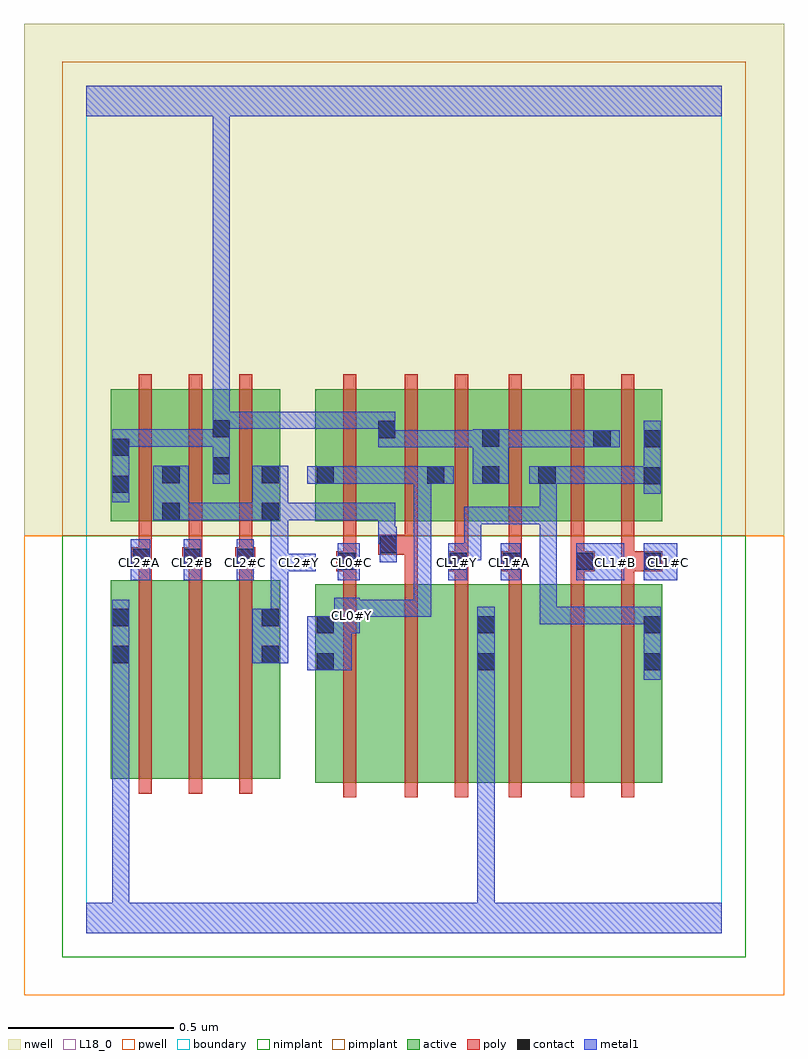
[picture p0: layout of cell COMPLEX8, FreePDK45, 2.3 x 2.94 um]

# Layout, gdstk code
import gdstk
lib = gdstk.Library(unit=1e-6, precision=1e-09)
def R(c, l, rs):  # rectangles x0, y0, x1, y1
    for r in rs: c.add(gdstk.rectangle(r[:2], r[2:], *l))
def A(c, l, x, y, w, h, nx, ny, dx, dy):  # array of equal rectangles
    R(c, l, [(x+i*dx, y+j*dy, x+i*dx+w, y+j*dy+h) for i in range(nx) for j in range(ny)])
active = (1, 0)
pwell = (2, 0)
nwell = (3, 0)
nimplant = (4, 0)
pimplant = (5, 0)
poly = (9, 0)
contact = (10, 0)
metal1 = (11, 0)
L18_0 = (18, 0)
boundary = (235, 0)

complex8 = lib.new_cell('COMPLEX8')
A(complex8, active, 0.074, 1.244, 0.06, 0.4, 3, 1, 0.152, 0)
R(complex8, active, [(0.692,0.454,0.872,1.054), (0.872,0.454,1.058,1.054), (1.058,0.454,1.238,1.054), (1.178,0.454,1.408,1.054), (1.408,0.454,1.56,1.054), (1.56,0.454,1.74,1.054), (0.074,0.466,0.254,1.066), (0.074,0.466,0.134,1.066), (0.254,0.466,0.406,1.066), (0.406,0.466,0.586,1.066), (0.526,0.466,0.586,1.066), (0.692,0.556,0.752,1.054), (1.178,0.556,1.238,0.962), (1.68,0.556,1.74,1.054), (0.074,1.244,0.286,1.644), (0.226,1.244,0.438,1.644), (0.378,1.244,0.586,1.644), (0.526,1.244,0.586,1.644), (0.692,1.244,0.752,1.644), (0.692,1.244,0.938,1.644), (0.878,1.244,0.938,1.644), (0.878,1.244,1.086,1.644), (1.026,1.244,1.086,1.644), (1.026,1.244,1.252,1.644), (1.192,1.244,1.252,1.644), (1.192,1.244,1.422,1.644), (1.362,1.244,1.422,1.644), (1.362,1.244,1.588,1.644), (1.528,1.244,1.588,1.644), (1.528,1.244,1.74,1.644), (1.68,1.244,1.74,1.644)])
R(complex8, pwell, [(-0.188,-0.188,2.108,1.2)])
R(complex8, nwell, [(-0.188,1.2,2.108,2.748)])
R(complex8, nimplant, [(-0.072,-0.072,1.992,1.2)])
R(complex8, pimplant, [(-0.072,1.2,1.992,2.632)])
A(complex8, poly, 0.158, 0.422, 0.04, 0.688, 3, 1, 0.152, 0)
A(complex8, poly, 0.158, 1.07, 0.04, 0.076, 3, 1, 0.152, 0)
A(complex8, poly, 0.158, 1.126, 0.04, 0.114, 3, 1, 0.152, 0)
A(complex8, poly, 0.158, 1.2, 0.04, 0.488, 3, 1, 0.152, 0)
R(complex8, poly, [(0.776,0.41,0.816,1.098), (0.962,0.41,1.002,1.098), (1.114,0.41,1.154,1.098), (1.276,0.41,1.316,1.098), (1.464,0.41,1.504,1.098), (1.616,0.41,1.656,1.098), (0.776,1.058,0.816,1.134), (0.962,1.058,1.002,1.184), (1.114,1.058,1.154,1.134), (1.276,1.058,1.316,1.134), (1.464,1.058,1.504,1.134), (1.616,1.058,1.656,1.134), (0.756,1.094,0.816,1.154), (0.776,1.094,0.816,1.134), (0.776,1.094,0.816,1.134), (1.094,1.094,1.154,1.154), (1.114,1.094,1.154,1.134), (1.114,1.094,1.154,1.134), (1.256,1.094,1.316,1.154), (1.464,1.094,1.504,1.134), (1.464,1.094,1.504,1.134), (1.464,1.094,1.536,1.154), (1.616,1.094,1.656,1.134), (1.616,1.094,1.656,1.134), (1.616,1.094,1.74,1.154), (0.138,1.106,0.198,1.166), (0.158,1.106,0.198,1.146), (0.158,1.106,0.198,1.146), (0.29,1.106,0.35,1.166), (0.45,1.106,0.51,1.166), (0.776,1.114,0.816,1.24), (1.114,1.114,1.154,1.24), (1.276,1.114,1.316,1.24), (1.276,1.114,1.316,1.154), (1.276,1.114,1.316,1.154), (1.464,1.114,1.504,1.24), (1.616,1.114,1.656,1.24), (0.31,1.126,0.35,1.166), (0.31,1.126,0.35,1.166), (0.462,1.126,0.502,1.166), (0.462,1.126,0.502,1.166), (0.882,1.144,1.002,1.204), (0.962,1.144,1.002,1.184), (0.962,1.144,1.002,1.184), (0.962,1.164,1.002,1.24), (0.776,1.2,0.816,1.688), (0.962,1.2,1.002,1.688), (1.114,1.2,1.154,1.688), (1.276,1.2,1.316,1.688), (1.464,1.2,1.504,1.688), (1.616,1.2,1.656,1.688)])
R(complex8, contact, [(0.696,0.794,0.748,0.846), (1.182,0.794,1.234,0.846), (1.684,0.794,1.736,0.846), (0.078,0.816,0.13,0.868), (0.53,0.816,0.582,0.868), (0.696,0.906,0.748,0.958), (1.182,0.906,1.234,0.958), (1.684,0.906,1.736,0.958), (0.078,0.928,0.13,0.98), (0.53,0.928,0.582,0.98), (0.76,1.098,0.812,1.15), (1.098,1.098,1.15,1.15), (1.26,1.098,1.312,1.15), (1.48,1.098,1.532,1.15), (1.684,1.098,1.736,1.15), (0.142,1.11,0.194,1.162), (0.294,1.11,0.346,1.162), (0.454,1.11,0.506,1.162), (0.886,1.148,0.938,1.2), (0.23,1.248,0.282,1.3), (0.53,1.248,0.582,1.3), (0.078,1.33,0.13,1.382), (1.684,1.356,1.736,1.408), (0.696,1.358,0.748,1.41), (1.03,1.358,1.082,1.41), (1.196,1.358,1.248,1.41), (1.366,1.358,1.418,1.41), (0.23,1.36,0.282,1.412), (0.53,1.36,0.582,1.412), (0.382,1.386,0.434,1.438), (0.078,1.442,0.13,1.494), (1.532,1.468,1.584,1.52), (1.684,1.468,1.736,1.52), (1.196,1.47,1.248,1.522), (0.882,1.496,0.934,1.548), (0.382,1.498,0.434,1.55)])
R(complex8, metal1, [(0,0,1.92,0.092), (0.078,0.04,0.13,0.092), (0.078,0.04,0.13,0.092), (0.078,0.04,0.13,0.092), (0.078,0.04,0.13,0.092), (0.078,0.04,0.13,0.092), (0.078,0.04,0.13,0.092), (0.078,0.04,0.13,0.092), (0.078,0.04,0.13,0.092), (0.078,0.04,0.13,0.84), (1.182,0.04,1.234,0.092), (1.182,0.04,1.234,0.092), (1.182,0.04,1.234,0.092), (1.182,0.04,1.234,0.092), (1.182,0.04,1.234,0.092), (1.182,0.04,1.234,0.092), (1.182,0.04,1.234,0.092), (1.182,0.04,1.234,0.092), (1.182,0.04,1.234,0.818), (1.182,0.766,1.234,0.986), (1.684,0.766,1.736,0.986), (0.078,0.788,0.13,1.008), (0.668,0.794,0.802,0.958), (0.502,0.816,0.61,0.98), (0.75,0.906,0.802,0.958), (0.75,0.906,0.826,1.014), (0.558,0.928,0.61,1.146), (1.37,0.934,1.422,0.986), (1.37,0.934,1.422,0.986), (1.37,0.934,1.422,0.986), (1.37,0.934,1.626,0.986), (1.37,0.934,1.422,1.288), (1.574,0.934,1.626,0.986), (1.574,0.934,1.626,0.986), (1.574,0.934,1.626,0.986), (1.574,0.934,1.736,0.986), (1.684,0.934,1.736,0.986), (1.684,0.934,1.736,0.986), (0.774,0.956,0.826,1.008), (0.774,0.956,0.826,1.008), (0.774,0.956,0.934,1.008), (0.882,0.956,0.934,1.008), (0.882,0.956,0.942,1.008), (0.89,0.956,0.942,1.008), (0.89,0.956,1.042,1.008), (0.99,0.956,1.042,1.008), (0.99,0.956,1.042,1.41), (0.134,1.066,0.194,1.19), (0.294,1.066,0.346,1.19), (0.454,1.066,0.506,1.19), (0.76,1.066,0.826,1.178), (1.094,1.066,1.15,1.178), (1.252,1.066,1.312,1.178), (1.48,1.066,1.626,1.178), (1.684,1.066,1.786,1.178), (0.558,1.094,0.61,1.3), (0.558,1.094,0.694,1.146), (0.886,1.12,0.938,1.228), (1.098,1.126,1.194,1.178), (1.142,1.126,1.194,1.288), (0.882,1.176,0.934,1.228), (0.882,1.176,0.938,1.228), (0.882,1.176,0.934,1.3), (1.142,1.236,1.422,1.288), (1.37,1.236,1.422,1.288), (1.37,1.236,1.422,1.288), (1.37,1.236,1.422,1.288), (1.37,1.236,1.422,1.41), (0.202,1.248,0.31,1.412), (0.258,1.248,0.31,1.3), (0.258,1.248,0.31,1.3), (0.258,1.248,0.444,1.3), (0.392,1.248,0.444,1.3), (0.392,1.248,0.554,1.3), (0.502,1.248,0.554,1.3), (0.502,1.248,0.554,1.3), (0.502,1.248,0.61,1.412), (0.558,1.248,0.61,1.3), (0.558,1.248,0.61,1.3), (0.558,1.248,0.804,1.3), (0.752,1.248,0.804,1.3), (0.752,1.248,0.804,1.3), (0.752,1.248,0.804,1.3), (0.752,1.248,0.934,1.3), (0.882,1.248,0.934,1.3), (0.078,1.302,0.13,1.522), (1.684,1.328,1.736,1.548), (0.382,1.358,0.434,1.578), (0.668,1.358,0.776,1.41), (0.724,1.358,0.826,1.41), (0.774,1.358,0.826,1.41), (0.774,1.358,0.934,1.41), (0.882,1.358,0.934,1.41), (0.882,1.358,0.936,1.41), (0.884,1.358,0.936,1.41), (0.884,1.358,1.044,1.41), (0.99,1.358,1.042,1.41), (0.99,1.358,1.042,1.41), (0.99,1.358,1.11,1.41), (0.992,1.358,1.044,1.41), (0.992,1.358,1.044,1.41), (1.168,1.358,1.276,1.522), (1.338,1.358,1.446,1.41), (1.394,1.358,1.626,1.41), (1.574,1.358,1.626,1.41), (1.574,1.358,1.626,1.41), (1.574,1.358,1.626,1.41), (1.574,1.358,1.736,1.41), (1.684,1.358,1.736,1.41), (1.684,1.358,1.736,1.41), (0.882,1.468,0.936,1.52), (0.882,1.468,0.934,1.576), (0.884,1.468,0.936,1.52), (0.884,1.468,1.052,1.52), (1,1.468,1.052,1.52), (1,1.468,1.052,1.52), (1,1.468,1.052,1.52), (1,1.468,1.22,1.52), (1.224,1.468,1.276,1.52), (1.224,1.468,1.276,1.52), (1.224,1.468,1.446,1.52), (1.394,1.468,1.446,1.52), (1.394,1.468,1.556,1.52), (1.504,1.468,1.556,1.52), (1.504,1.468,1.556,1.52), (1.504,1.468,1.612,1.52), (0.078,1.47,0.13,1.522), (0.078,1.47,0.13,1.522), (0.078,1.47,0.24,1.522), (0.188,1.47,0.24,1.522), (0.188,1.47,0.24,1.522), (0.188,1.47,0.24,1.522), (0.188,1.47,0.434,1.522), (0.382,1.524,0.61,1.576), (0.558,1.524,0.61,1.576), (0.558,1.524,0.61,1.576), (0.558,1.524,0.61,1.576), (0.558,1.524,0.804,1.576), (0.752,1.524,0.804,1.576), (0.752,1.524,0.804,1.576), (0.752,1.524,0.804,1.576), (0.752,1.524,0.934,1.576), (0.382,1.526,0.434,1.578), (0.382,1.526,0.434,1.578), (0.382,1.526,0.434,1.578), (0.382,1.526,0.434,1.578), (0.382,1.526,0.434,1.578), (0.382,1.526,0.434,1.578), (0.382,1.526,0.434,2.52), (0,2.468,1.92,2.56), (0.382,2.468,0.434,2.52), (0.382,2.468,0.434,2.52), (0.382,2.468,0.434,2.52), (0.382,2.468,0.434,2.52), (0.382,2.468,0.434,2.52), (0.382,2.468,0.434,2.52), (0.382,2.468,0.434,2.52), (0.382,2.468,0.434,2.52), (0.382,2.468,0.434,2.52), (0.382,2.468,0.434,2.52)])
A(complex8, L18_0, 0.134, 1.094, 0.052, 0.052, 5, 1, 0.16, 0)
R(complex8, L18_0, [(0,0,1.92,0.092), (0.078,0.04,0.13,0.092), (0.078,0.04,0.13,0.092), (0.078,0.04,0.13,0.092), (0.078,0.04,0.13,0.092), (0.078,0.04,0.13,0.092), (0.078,0.04,0.13,0.092), (0.078,0.04,0.13,0.092), (0.078,0.04,0.13,0.092), (0.078,0.04,0.13,0.84), (1.182,0.04,1.234,0.092), (1.182,0.04,1.234,0.092), (1.182,0.04,1.234,0.092), (1.182,0.04,1.234,0.092), (1.182,0.04,1.234,0.092), (1.182,0.04,1.234,0.092), (1.182,0.04,1.234,0.092), (1.182,0.04,1.234,0.092), (1.182,0.04,1.234,0.818), (1.182,0.766,1.234,0.986), (1.684,0.766,1.736,0.986), (0.078,0.788,0.13,1.008), (0.668,0.794,0.802,0.958), (0.502,0.816,0.61,0.98), (0.75,0.906,0.802,0.958), (0.75,0.906,0.826,1.014), (0.558,0.928,0.61,1.146), (0.774,0.934,0.826,0.986), (1.37,0.934,1.422,0.986), (1.37,0.934,1.422,0.986), (1.37,0.934,1.422,0.986), (1.37,0.934,1.422,1.288), (1.37,0.934,1.626,0.986), (1.574,0.934,1.626,0.986), (1.574,0.934,1.626,0.986), (1.574,0.934,1.626,0.986), (1.574,0.934,1.736,0.986), (1.684,0.934,1.736,0.986), (1.684,0.934,1.736,0.986), (0.774,0.956,0.826,1.008), (0.774,0.956,0.826,1.008), (0.774,0.956,0.934,1.008), (0.882,0.956,0.934,1.008), (0.882,0.956,0.942,1.008), (0.89,0.956,0.942,1.008), (0.89,0.956,1.042,1.008), (0.99,0.956,1.042,1.008), (0.99,0.956,1.042,1.41), (0.134,1.066,0.194,1.19), (0.294,1.066,0.346,1.19), (0.454,1.066,0.506,1.19), (0.76,1.066,0.826,1.178), (1.094,1.066,1.15,1.178), (1.252,1.066,1.312,1.178), (1.48,1.066,1.626,1.178), (1.684,1.066,1.786,1.178), (0.558,1.094,0.694,1.146), (0.558,1.094,0.61,1.3), (1.094,1.094,1.146,1.146), (1.254,1.094,1.306,1.146), (1.574,1.094,1.626,1.146), (1.734,1.094,1.786,1.146), (0.886,1.12,0.938,1.228), (1.098,1.126,1.194,1.178), (1.142,1.126,1.194,1.288), (0.882,1.176,0.934,1.228), (0.882,1.176,0.934,1.3), (0.882,1.176,0.938,1.228), (1.142,1.236,1.422,1.288), (1.37,1.236,1.422,1.288), (1.37,1.236,1.422,1.288), (1.37,1.236,1.422,1.288), (1.37,1.236,1.422,1.41), (0.202,1.248,0.31,1.412), (0.258,1.248,0.31,1.3), (0.258,1.248,0.31,1.3), (0.258,1.248,0.444,1.3), (0.392,1.248,0.444,1.3), (0.392,1.248,0.554,1.3), (0.502,1.248,0.554,1.3), (0.502,1.248,0.554,1.3), (0.502,1.248,0.61,1.412), (0.558,1.248,0.61,1.3), (0.558,1.248,0.61,1.3), (0.558,1.248,0.804,1.3), (0.752,1.248,0.804,1.3), (0.752,1.248,0.804,1.3), (0.752,1.248,0.804,1.3), (0.752,1.248,0.934,1.3), (0.882,1.248,0.934,1.3), (0.078,1.302,0.13,1.522), (1.684,1.328,1.736,1.548), (0.382,1.358,0.434,1.578), (0.668,1.358,0.776,1.41), (0.724,1.358,0.826,1.41), (0.774,1.358,0.826,1.41), (0.774,1.358,0.934,1.41), (0.882,1.358,0.934,1.41), (0.882,1.358,0.936,1.41), (0.884,1.358,0.936,1.41), (0.884,1.358,1.044,1.41), (0.99,1.358,1.042,1.41), (0.99,1.358,1.042,1.41), (0.99,1.358,1.11,1.41), (0.992,1.358,1.044,1.41), (0.992,1.358,1.044,1.41), (1.168,1.358,1.276,1.522), (1.338,1.358,1.446,1.41), (1.394,1.358,1.626,1.41), (1.574,1.358,1.626,1.41), (1.574,1.358,1.626,1.41), (1.574,1.358,1.626,1.41), (1.574,1.358,1.736,1.41), (1.684,1.358,1.736,1.41), (1.684,1.358,1.736,1.41), (0.882,1.468,0.934,1.576), (0.882,1.468,0.936,1.52), (0.884,1.468,0.936,1.52), (0.884,1.468,1.052,1.52), (1,1.468,1.052,1.52), (1,1.468,1.052,1.52), (1,1.468,1.052,1.52), (1,1.468,1.22,1.52), (1.224,1.468,1.276,1.52), (1.224,1.468,1.276,1.52), (1.224,1.468,1.446,1.52), (1.394,1.468,1.446,1.52), (1.394,1.468,1.556,1.52), (1.504,1.468,1.556,1.52), (1.504,1.468,1.556,1.52), (1.504,1.468,1.612,1.52), (0.078,1.47,0.13,1.522), (0.078,1.47,0.13,1.522), (0.078,1.47,0.24,1.522), (0.188,1.47,0.24,1.522), (0.188,1.47,0.24,1.522), (0.188,1.47,0.24,1.522), (0.188,1.47,0.434,1.522), (0.382,1.524,0.61,1.576), (0.558,1.524,0.61,1.576), (0.558,1.524,0.61,1.576), (0.558,1.524,0.61,1.576), (0.558,1.524,0.804,1.576), (0.752,1.524,0.804,1.576), (0.752,1.524,0.804,1.576), (0.752,1.524,0.804,1.576), (0.752,1.524,0.934,1.576), (0.382,1.526,0.434,1.578), (0.382,1.526,0.434,1.578), (0.382,1.526,0.434,1.578), (0.382,1.526,0.434,1.578), (0.382,1.526,0.434,1.578), (0.382,1.526,0.434,1.578), (0.382,1.526,0.434,2.52), (0,2.468,1.92,2.56), (0.382,2.468,0.434,2.52), (0.382,2.468,0.434,2.52), (0.382,2.468,0.434,2.52), (0.382,2.468,0.434,2.52), (0.382,2.468,0.434,2.52), (0.382,2.468,0.434,2.52), (0.382,2.468,0.434,2.52), (0.382,2.468,0.434,2.52), (0.382,2.468,0.434,2.52), (0.382,2.468,0.434,2.52)])
R(complex8, boundary, [(0,0,1.92,2.56)])
complex8.add(gdstk.Label('CL0#C', (0.8,1.12), layer=11, texttype=0))
complex8.add(gdstk.Label('CL0#Y', (0.8,0.96), layer=11, texttype=0))
complex8.add(gdstk.Label('CL1#A', (1.28,1.12), layer=11, texttype=0))
complex8.add(gdstk.Label('CL1#B', (1.6,1.12), layer=11, texttype=0))
complex8.add(gdstk.Label('CL1#C', (1.76,1.12), layer=11, texttype=0))
complex8.add(gdstk.Label('CL1#Y', (1.12,1.12), layer=11, texttype=0))
complex8.add(gdstk.Label('CL2#A', (0.16,1.12), layer=11, texttype=0))
complex8.add(gdstk.Label('CL2#B', (0.32,1.12), layer=11, texttype=0))
complex8.add(gdstk.Label('CL2#C', (0.48,1.12), layer=11, texttype=0))
complex8.add(gdstk.Label('CL2#Y', (0.64,1.12), layer=11, texttype=0))

lib.write_gds('COMPLEX8.gds')
